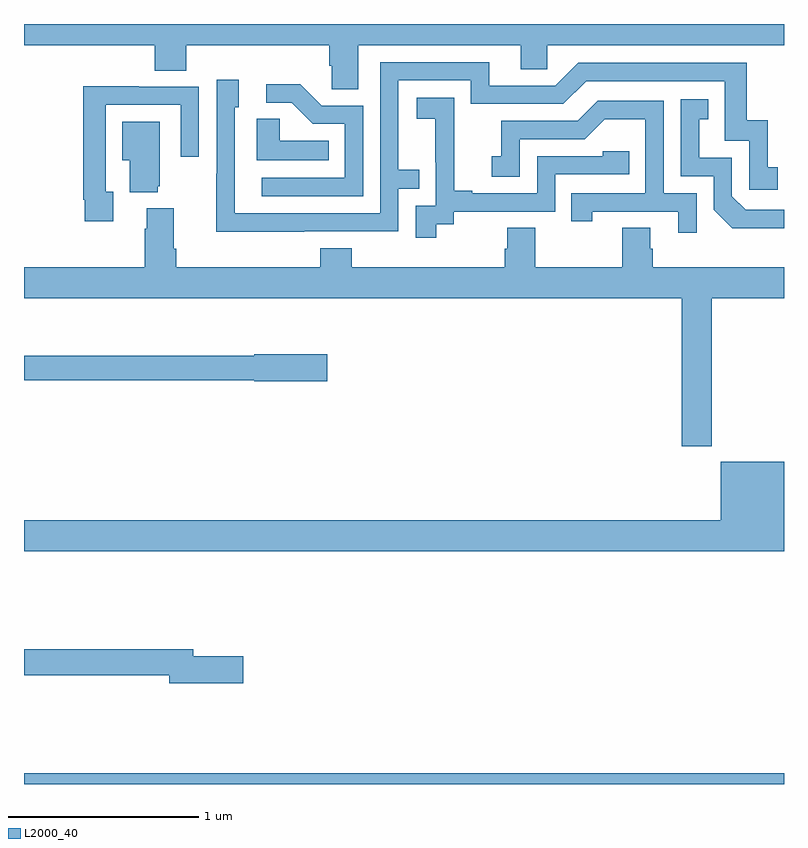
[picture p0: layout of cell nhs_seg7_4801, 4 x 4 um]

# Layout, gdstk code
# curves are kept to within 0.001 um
import gdstk
lib = gdstk.Library(unit=1e-6, precision=1e-09)
def R(c, l, rs):  # rectangles x0, y0, x1, y1
    for r in rs: c.add(gdstk.rectangle(r[:2], r[2:], *l))
def P(c, l, *ps):  # polygons
    for p in ps: c.add(gdstk.Polygon(p, *l))
L2000_40 = (2000, 40)

nhs_seg7_4801 = lib.new_cell('nhs_seg7_4801')
R(nhs_seg7_4801, L2000_40, [(411,1058,415,1058.056)])
P(nhs_seg7_4801, L2000_40, [(412.759,1061.888),(413.615,1061.888),(413.615,1061.761),(413.754,1061.761),(413.754,1061.888),(415,1061.888),(415,1062),(411,1062),(411,1061.888),(411.689,1061.888),(411.689,1061.755),(411.854,1061.755),(411.854,1061.888),(412.607,1061.888),(412.607,1061.779),(412.62,1061.779),(412.62,1061.656),(412.759,1061.656)],
  [(412.475,1060.908),(412.971,1060.908),(412.971,1061.133),(413.081,1061.133),(413.081,1061.234),(412.971,1061.234),(412.971,1061.703),(413.352,1061.703),(413.352,1061.58),(413.838,1061.58),(413.958,1061.7),(414.687,1061.7),(414.687,1061.385),(414.816,1061.385),(414.816,1061.127),(414.967,1061.127),(414.967,1061.247),(414.914,1061.247),(414.914,1061.494),(414.803,1061.494),(414.803,1061.796),(413.916,1061.796),(413.796,1061.676),(413.449,1061.676),(413.449,1061.799),(412.875,1061.799),(412.875,1061.004),(412.11,1061.004),(412.11,1061.562),(412.129,1061.562),(412.129,1061.707),(412.014,1061.707),(412.014,1061.213),(412.012,1061.213),(412.012,1060.907)],
  [(412.785,1061.571),(412.566,1061.571),(412.453,1061.684),(412.275,1061.684),(412.275,1061.586),(412.409,1061.586),(412.52,1061.475),(412.689,1061.475),(412.689,1061.19),(412.251,1061.19),(412.251,1061.094),(412.785,1061.094)],
  [(411.469,1061.118),(411.429,1061.118),(411.429,1061.574),(411.825,1061.574),(411.825,1061.301),(411.921,1061.301),(411.921,1061.67),(411.605,1061.67),(411.605,1061.672),(411.313,1061.672),(411.313,1061.074),(411.321,1061.074),(411.321,1060.962),(411.469,1060.962)],
  [(413.17,1060.945),(413.262,1060.945),(413.262,1061.013),(413.796,1061.013),(413.796,1061.208),(414.185,1061.208),(414.185,1061.331),(414.045,1061.331),(414.045,1061.304),(413.7,1061.304),(413.7,1061.109),(413.359,1061.109),(413.359,1061.122),(413.264,1061.122),(413.264,1061.405),(413.265,1061.405),(413.265,1061.611),(413.067,1061.611),(413.067,1061.501),(413.165,1061.501),(413.165,1061.273),(413.166,1061.273),(413.166,1061.043),(413.061,1061.043),(413.061,1060.875),(413.17,1060.875)],
  [(415,1061.022),(414.798,1061.022),(414.726,1061.094),(414.726,1061.295),(414.553,1061.295),(414.553,1061.499),(414.602,1061.499),(414.602,1061.605),(414.456,1061.605),(414.456,1061.199),(414.63,1061.199),(414.63,1061.022),(414.728,1060.925),(415,1060.925)],
  [(414.54,1061.109),(414.366,1061.109),(414.366,1061.595),(414.02,1061.595),(413.915,1061.49),(413.512,1061.49),(413.512,1061.305),(413.463,1061.305),(413.463,1061.196),(413.61,1061.196),(413.61,1061.394),(413.952,1061.394),(414.056,1061.498),(414.27,1061.498),(414.27,1061.109),(413.881,1061.109),(413.881,1060.962),(413.992,1060.962),(413.992,1061.013),(414.443,1061.013),(414.443,1060.902),(414.54,1060.902)],
  [(412.604,1061.386),(412.347,1061.386),(412.347,1061.501),(412.226,1061.501),(412.226,1061.282),(412.604,1061.282)],
  [(411.704,1061.145),(411.715,1061.145),(411.715,1061.485),(411.518,1061.485),(411.518,1061.282),(411.557,1061.282),(411.557,1061.114),(411.704,1061.114)],
  [(414.621,1060.556),(415,1060.556),(415,1060.72),(414.308,1060.72),(414.308,1060.818),(414.295,1060.818),(414.295,1060.928),(414.148,1060.928),(414.148,1060.72),(413.691,1060.72),(413.691,1060.928),(413.543,1060.928),(413.543,1060.818),(413.531,1060.818),(413.531,1060.72),(412.724,1060.72),(412.724,1060.819),(412.559,1060.819),(412.559,1060.72),(411.8,1060.72),(411.8,1060.816),(411.787,1060.816),(411.787,1061.029),(411.647,1061.029),(411.647,1060.922),(411.635,1060.922),(411.635,1060.72),(411,1060.72),(411,1060.556),(414.461,1060.556),(414.461,1059.777),(414.621,1059.777)],
  [(412.597,1060.263),(412.212,1060.263),(412.212,1060.255),(411,1060.255),(411,1060.126),(412.212,1060.126),(412.212,1060.121),(412.597,1060.121)],
  [(415,1059.697),(414.668,1059.697),(414.668,1059.388),(411,1059.388),(411,1059.224),(415,1059.224)],
  [(412.153,1058.672),(411.892,1058.672),(411.892,1058.708),(411,1058.708),(411,1058.572),(411.764,1058.572),(411.764,1058.53),(412.153,1058.53)])

lib.write_gds('nhs_seg7_4801.gds')
